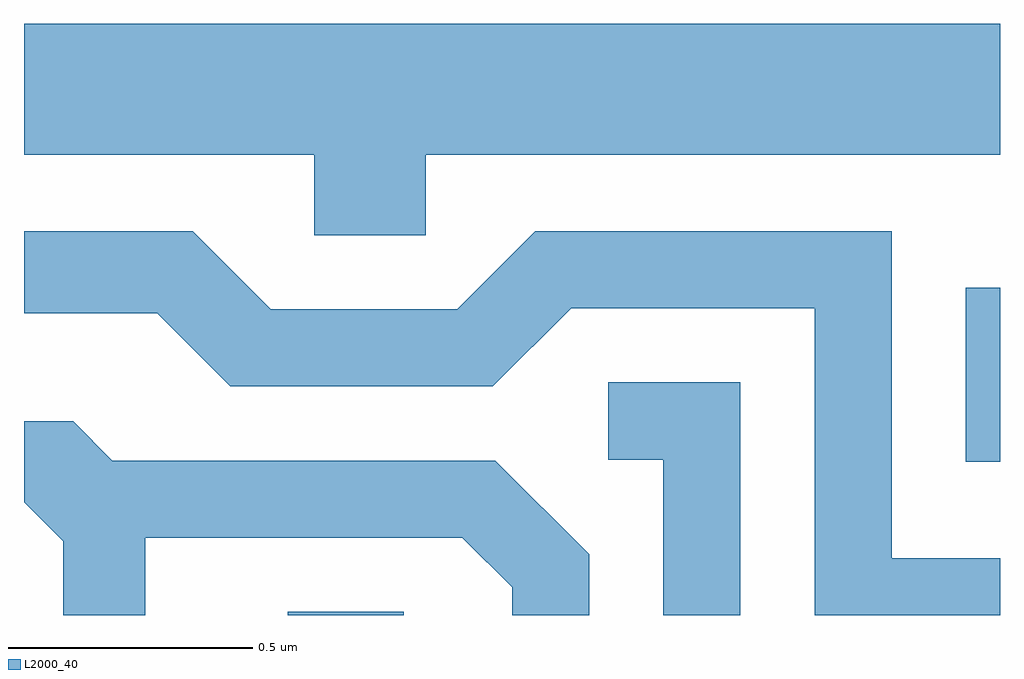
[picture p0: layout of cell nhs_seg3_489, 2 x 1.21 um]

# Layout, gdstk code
import gdstk
lib = gdstk.Library(unit=1e-6, precision=1e-09)
def R(c, l, rs):  # rectangles x0, y0, x1, y1
    for r in rs: c.add(gdstk.rectangle(r[:2], r[2:], *l))
def P(c, l, *ps):  # polygons
    for p in ps: c.add(gdstk.Polygon(p, *l))
L2000_40 = (2000, 40)

nhs_seg3_489 = lib.new_cell('nhs_seg3_489')
R(nhs_seg3_489, L2000_40, [(189.151,1193.892,189.389,1193.899), (190.541,1194.206,190.611,1194.563)])
P(nhs_seg3_489, L2000_40, [(189.434,1194.836),(190.611,1194.836),(190.611,1195.104),(188.611,1195.104),(188.611,1194.836),(189.206,1194.836),(189.206,1194.671),(189.434,1194.671)],
  [(190.611,1194.009),(190.389,1194.009),(190.389,1194.679),(189.659,1194.679),(189.499,1194.519),(189.117,1194.519),(188.957,1194.679),(188.611,1194.679),(188.611,1194.511),(188.884,1194.511),(189.034,1194.361),(189.572,1194.361),(189.732,1194.521),(190.231,1194.521),(190.231,1193.892),(190.611,1193.892)],
  [(190.079,1194.369),(189.808,1194.369),(189.808,1194.211),(189.921,1194.211),(189.921,1193.892),(190.079,1193.892)],
  [(188.859,1194.051),(189.509,1194.051),(189.611,1193.949),(189.611,1193.892),(189.769,1193.892),(189.769,1194.017),(189.577,1194.209),(188.792,1194.209),(188.712,1194.289),(188.611,1194.289),(188.611,1194.124),(188.691,1194.044),(188.691,1193.892),(188.859,1193.892)])

lib.write_gds('nhs_seg3_489.gds')
